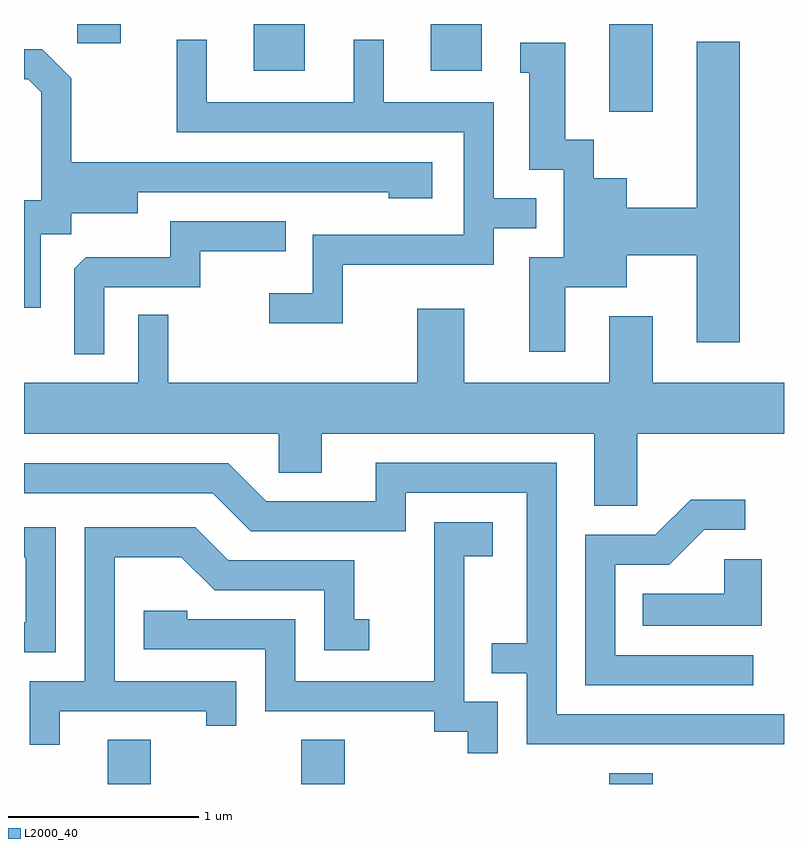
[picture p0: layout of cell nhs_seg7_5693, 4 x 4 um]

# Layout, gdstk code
import gdstk
lib = gdstk.Library(unit=1e-6, precision=1e-09)
def R(c, l, rs):  # rectangles x0, y0, x1, y1
    for r in rs: c.add(gdstk.rectangle(r[:2], r[2:], *l))
def P(c, l, *ps):  # polygons
    for p in ps: c.add(gdstk.Polygon(p, *l))
L2000_40 = (2000, 40)

nhs_seg7_5693 = lib.new_cell('nhs_seg7_5693')
R(nhs_seg7_5693, L2000_40, [(360.051,1710.252,360.279,1710.484), (361.071,1710.252,361.299,1710.484), (362.691,1710.252,362.919,1710.309), (362.691,1713.791,362.919,1714.252), (360.821,1714.006,361.089,1714.252), (361.751,1714.006,362.019,1714.252), (359.891,1714.151,360.119,1714.252)])
P(nhs_seg7_5693, L2000_40, [(361.289,1712.986),(362.084,1712.986),(362.084,1713.176),(362.308,1713.176),(362.308,1713.334),(362.084,1713.334),(362.084,1713.839),(361.504,1713.839),(361.504,1714.168),(361.346,1714.168),(361.346,1713.839),(360.574,1713.839),(360.574,1714.168),(360.416,1714.168),(360.416,1713.681),(361.926,1713.681),(361.926,1713.144),(361.131,1713.144),(361.131,1712.834),(360.903,1712.834),(360.903,1712.676),(361.289,1712.676)],
  [(362.459,1712.866),(362.784,1712.866),(362.784,1713.036),(363.151,1713.036),(363.151,1712.576),(363.379,1712.576),(363.379,1714.159),(363.151,1714.159),(363.151,1713.284),(362.784,1713.284),(362.784,1713.439),(362.609,1713.439),(362.609,1713.644),(362.459,1713.644),(362.459,1714.154),(362.223,1714.154),(362.223,1713.996),(362.271,1713.996),(362.271,1713.486),(362.451,1713.486),(362.451,1713.024),(362.271,1713.024),(362.271,1712.526),(362.459,1712.526)],
  [(359.699,1713.146),(359.859,1713.146),(359.859,1713.256),(360.209,1713.256),(360.209,1713.366),(361.531,1713.366),(361.531,1713.336),(361.759,1713.336),(361.759,1713.524),(359.859,1713.524),(359.859,1713.967),(359.707,1714.119),(359.611,1714.119),(359.611,1713.961),(359.634,1713.961),(359.701,1713.894),(359.701,1713.324),(359.611,1713.324),(359.611,1712.758),(359.699,1712.758)],
  [(360.034,1712.866),(360.539,1712.866),(360.539,1713.056),(360.988,1713.056),(360.988,1713.214),(360.381,1713.214),(360.381,1713.024),(359.937,1713.024),(359.876,1712.964),(359.876,1712.513),(360.034,1712.513)],
  [(362.839,1712.096),(363.611,1712.096),(363.611,1712.364),(362.919,1712.364),(362.919,1712.714),(362.691,1712.714),(362.691,1712.364),(361.929,1712.364),(361.929,1712.754),(361.681,1712.754),(361.681,1712.364),(360.369,1712.364),(360.369,1712.723),(360.211,1712.723),(360.211,1712.364),(359.611,1712.364),(359.611,1712.096),(360.951,1712.096),(360.951,1711.891),(361.179,1711.891),(361.179,1712.096),(362.611,1712.096),(362.611,1711.716),(362.839,1711.716)],
  [(363.611,1710.619),(362.414,1710.619),(362.414,1711.944),(361.461,1711.944),(361.461,1711.739),(360.887,1711.739),(360.687,1711.939),(359.611,1711.939),(359.611,1711.781),(360.604,1711.781),(360.804,1711.581),(361.619,1711.581),(361.619,1711.786),(362.256,1711.786),(362.256,1710.994),(362.073,1710.994),(362.073,1710.836),(362.256,1710.836),(362.256,1710.461),(363.611,1710.461)],
  [(363.448,1710.929),(362.724,1710.929),(362.724,1711.406),(363.007,1711.406),(363.192,1711.591),(363.408,1711.591),(363.408,1711.749),(363.119,1711.749),(362.934,1711.564),(362.566,1711.564),(362.566,1710.771),(363.448,1710.771)],
  [(362.104,1710.684),(361.929,1710.684),(361.929,1711.451),(362.079,1711.451),(362.079,1711.629),(361.771,1711.629),(361.771,1710.794),(361.039,1710.794),(361.039,1711.119),(360.469,1711.119),(360.469,1711.164),(360.241,1711.164),(360.241,1710.961),(360.881,1710.961),(360.881,1710.636),(361.771,1710.636),(361.771,1710.526),(361.946,1710.526),(361.946,1710.413),(362.104,1710.413)],
  [(359.779,1711.604),(359.611,1711.604),(359.611,1711.446),(359.621,1711.446),(359.621,1711.104),(359.611,1711.104),(359.611,1710.946),(359.779,1710.946)],
  [(359.799,1710.636),(360.571,1710.636),(360.571,1710.558),(360.729,1710.558),(360.729,1710.794),(360.089,1710.794),(360.089,1711.446),(360.439,1711.446),(360.614,1711.271),(361.191,1711.271),(361.191,1710.956),(361.428,1710.956),(361.428,1711.119),(361.349,1711.119),(361.349,1711.429),(360.687,1711.429),(360.512,1711.604),(359.931,1711.604),(359.931,1710.794),(359.641,1710.794),(359.641,1710.458),(359.799,1710.458)],
  [(363.494,1711.434),(363.296,1711.434),(363.296,1711.254),(362.868,1711.254),(362.868,1711.086),(363.494,1711.086)])

lib.write_gds('nhs_seg7_5693.gds')
